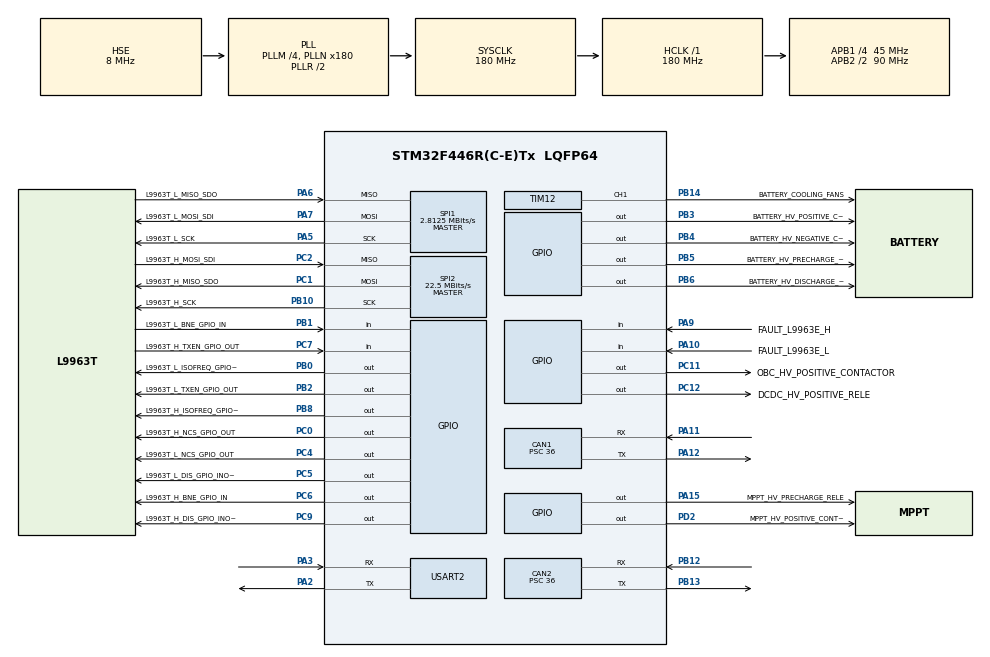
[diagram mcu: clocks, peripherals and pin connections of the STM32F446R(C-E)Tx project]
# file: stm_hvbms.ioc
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CAN1.ABOM=ENABLE
CAN1.BS1=CAN_BS1_2TQ
CAN1.BS2=CAN_BS2_2TQ
CAN1.CalculateBaudRate=250000
CAN1.CalculateTimeBit=4000
CAN1.CalculateTimeQuantum=800.0
CAN1.Prescaler=36
CAN2.BS1=CAN_BS1_2TQ
CAN2.BS2=CAN_BS2_2TQ
CAN2.CalculateBaudRate=250000
CAN2.CalculateTimeBit=4000
CAN2.CalculateTimeQuantum=800.0
CAN2.Prescaler=36
Mcu.Family=STM32F4
Mcu.Name=STM32F446R(C-E)Tx
Mcu.Package=LQFP64
NVIC.PriorityGroup=NVIC_PRIORITYGROUP_4
NVIC.TIM6_DAC_IRQn=true\:0\:0\:false\:false\:true\:true\:true\:true
NVIC.TIM7_IRQn=true\:0\:0\:false\:false\:true\:true\:true\:true
NVIC.TIM8_BRK_TIM12_IRQn=true\:0\:0\:false\:false\:true\:true\:true\:true
NVIC.TIM8_UP_TIM13_IRQn=true\:0\:0\:false\:false\:true\:true\:true\:true
PA10.GPIO_Label=FAULT_L9963E_L
PA10.Signal=GPIO_Input
PA11.Mode=CAN_Activate
PA11.Signal=CAN1_RX
PA12.Mode=CAN_Activate
PA12.Signal=CAN1_TX
PA15.GPIO_Label=MPPT_HV_PRECHARGE_RELE
PA15.Signal=GPIO_Output
PA2.Mode=Asynchronous
PA2.Signal=USART2_TX
PA3.Mode=Asynchronous
PA3.Signal=USART2_RX
PA5.GPIO_Label=L9963T_L_SCK
PA5.Mode=Full_Duplex_Master
PA5.Signal=SPI1_SCK
PA6.GPIO_Label=L9963T_L_MISO_SDO
PA6.Mode=Full_Duplex_Master
PA6.Signal=SPI1_MISO
PA7.GPIO_Label=L9963T_L_MOSI_SDI
PA7.Mode=Full_Duplex_Master
PA7.Signal=SPI1_MOSI
PA9.GPIO_Label=FAULT_L9963E_H
PA9.Signal=GPIO_Input
PB0.GPIO_Label=L9963T_L_ISOFREQ_GPIO_OUT
PB0.Signal=GPIO_Output
PB1.GPIO_Label=L9963T_L_BNE_GPIO_IN
PB1.Signal=GPIO_Input
PB10.GPIO_Label=L9963T_H_SCK
PB10.Mode=Full_Duplex_Master
PB10.Signal=SPI2_SCK
PB12.Mode=CAN_Activate
PB12.Signal=CAN2_RX
PB13.Mode=CAN_Activate
PB13.Signal=CAN2_TX
PB14.GPIO_Label=BATTERY_COOLING_FANS
PB14.Signal=S_TIM12_CH1
PB2.GPIO_Label=L9963T_L_TXEN_GPIO_OUT
PB2.Signal=GPIO_Output
PB3.GPIO_Label=BATTERY_HV_POSITIVE_CONTACTOR
PB3.Signal=GPIO_Output
PB4.GPIO_Label=BATTERY_HV_NEGATIVE_CONTACTOR
PB4.Signal=GPIO_Output
PB5.GPIO_Label=BATTERY_HV_PRECHARGE_CONTACTOR
PB5.Signal=GPIO_Output
PB6.GPIO_Label=BATTERY_HV_DISCHARGE_CONTACTOR
PB6.Signal=GPIO_Output
PB8.GPIO_Label=L9963T_H_ISOFREQ_GPIO_OUT
PB8.Signal=GPIO_Output
PC0.GPIO_Label=L9963T_H_NCS_GPIO_OUT
PC0.Signal=GPIO_Output
PC1.GPIO_Label=L9963T_H_MISO_SDO
PC1.Mode=Full_Duplex_Master
PC1.Signal=SPI2_MOSI
PC11.GPIO_Label=OBC_HV_POSITIVE_CONTACTOR
PC11.Signal=GPIO_Output
PC12.GPIO_Label=DCDC_HV_POSITIVE_RELE
PC12.Signal=GPIO_Output
PC2.GPIO_Label=L9963T_H_MOSI_SDI
PC2.Mode=Full_Duplex_Master
PC2.Signal=SPI2_MISO
PC4.GPIO_Label=L9963T_L_NCS_GPIO_OUT
PC4.Signal=GPIO_Output
PC5.GPIO_Label=L9963T_L_DIS_GPIO_INOUT
PC5.Signal=GPIO_Output
PC6.GPIO_Label=L9963T_H_BNE_GPIO_IN
PC6.Signal=GPIO_Output
PC7.GPIO_Label=L9963T_H_TXEN_GPIO_OUT
PC7.Signal=GPIO_Input
PC9.GPIO_Label=L9963T_H_DIS_GPIO_INOUT
PC9.Signal=GPIO_Output
PD2.GPIO_Label=MPPT_HV_POSITIVE_CONTACTOR
PD2.Signal=GPIO_Output
PH0-OSC_IN.Mode=HSE-External-Oscillator
PH0-OSC_IN.Signal=RCC_OSC_IN
PH1-OSC_OUT.Mode=HSE-External-Oscillator
PH1-OSC_OUT.Signal=RCC_OSC_OUT
ProjectManager.HeapSize=0x200
ProjectManager.StackSize=0x400
ProjectManager.TargetToolchain=Makefile
RCC.AHBFreq_Value=180000000
RCC.APB1CLKDivider=RCC_HCLK_DIV4
RCC.APB1Freq_Value=45000000
RCC.APB1TimFreq_Value=90000000
RCC.APB2CLKDivider=RCC_HCLK_DIV2
RCC.APB2Freq_Value=90000000
RCC.APB2TimFreq_Value=180000000
RCC.CortexFreq_Value=180000000
RCC.HCLKFreq_Value=180000000
RCC.HSE_VALUE=8000000
RCC.PLLM=4
RCC.PLLN=180
RCC.PLLSourceVirtual=RCC_PLLSOURCE_HSE
RCC.SYSCLKFreq_VALUE=180000000
RCC.SYSCLKSource=RCC_SYSCLKSOURCE_PLLRCLK
RCC.USBFreq_Value=180000000
RCC.VCOOutputFreq_Value=360000000
SH.S_TIM12_CH1.0=TIM12_CH1,PWM Generation1 CH1
SPI1.BaudRatePrescaler=SPI_BAUDRATEPRESCALER_32
SPI1.CLKPhase=SPI_PHASE_2EDGE
SPI1.CalculateBaudRate=2.8125 MBits/s
SPI1.Direction=SPI_DIRECTION_2LINES
SPI1.Mode=SPI_MODE_MASTER
SPI1.VirtualType=VM_MASTER
SPI2.CalculateBaudRate=22.5 MBits/s
SPI2.Direction=SPI_DIRECTION_2LINES
SPI2.Mode=SPI_MODE_MASTER
SPI2.VirtualType=VM_MASTER
TIM12.Channel-PWM\ Generation1\ CH1=TIM_CHANNEL_1
TIM12.Period=40-1
TIM12.Prescaler=90-1
TIM13.Period=100-1
TIM13.Prescaler=9000-1
TIM6.Period=10000 -1
TIM6.Prescaler=9000-1
TIM7.Period=500 -1
TIM7.Prescaler=9000-1
USART2.VirtualMode=VM_ASYNC
VP_TIM12_VS_ClockSourceINT.Mode=Internal
VP_TIM13_VS_ClockSourceINT.Mode=Enable_Timer
VP_TIM6_VS_ClockSourceINT.Mode=Enable_Timer
VP_TIM7_VS_ClockSourceINT.Mode=Enable_Timer
board=custom

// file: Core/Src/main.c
/* USER CODE BEGIN Header */
/**
  ******************************************************************************
  * @file           : main.c
  * @brief          : Main program body
  ******************************************************************************
  * @attention
  *
  * Copyright (c) 2025 STMicroelectronics.
  * All rights reserved.
  *
  * This software is licensed under terms that can be found in the LICENSE file
  * in the root directory of this software component.
  * If no LICENSE file comes with this software, it is provided AS-IS.
  *
  ******************************************************************************
  */
/* USER CODE END Header */
#include "main.h"
#include "can.h"
#include "spi.h"
#include "tim.h"
#include "usart.h"
#include "gpio.h"

/* USER CODE BEGIN Includes */
#include <stdio.h>
#include <stdint.h>
#include <stdbool.h>
#include <stddef.h>
#include <string.h>
#include "L9963E_utils.h"
#include "ntc.h"
#include "can_utils.h"
#include "bms.h"
#include "hv_device_datatypes.h"
/* USER CODE END Includes */

/* USER CODE BEGIN PD */
#define BMS_INTERVAL 50
#define CAN_SEND_INTERVAL 200
#define CAN_RECEIVE_INTERVAL 2
//#define SERIAL_DEBUG
/* USER CODE END PD */

/* USER CODE BEGIN PV */
//intervals check
volatile uint32_t bms_millis;
volatile uint32_t can_send_millis;
volatile uint32_t can_receive_millis;

pack_information_t pack_information_main;
battery_errors_t battery_errors_main;
hv_devices_states_requests_t hv_devices_states_requests_main;

/* USER CODE END PV */

void SystemClock_Config(void);

int main(void)
{

  /* MCU Configuration--------------------------------------------------------*/

  /* Reset of all peripherals, Initializes the Flash interface and the Systick. */
  HAL_Init();

  /* Configure the system clock */
  SystemClock_Config();

  /* Initialize all configured peripherals */
  MX_GPIO_Init();
  MX_CAN1_Init();
  MX_SPI1_Init();
  MX_TIM6_Init();
  MX_TIM7_Init();
  MX_USART2_UART_Init();
  MX_TIM12_Init();
  MX_TIM13_Init();
  MX_CAN2_Init();
  MX_SPI2_Init();
  /* USER CODE BEGIN 2 */
  L9963E_utils_init();
  bms_routines_init(&pack_information_main, &battery_errors_main, &hv_devices_states_requests_main);
  can_routines_init(get_pack_information());

  #ifdef SERIAL_DEBUG
  char buf[50];
  strcpy((char*)buf,"AO SO SVEGLIOOO!\r\n");
  HAL_UART_Transmit(&huart2,buf,strlen((char*)buf),HAL_MAX_DELAY);
  HAL_Delay(200);
  #endif
  /* USER CODE END 2 */

  /* Infinite loop */
  /* USER CODE BEGIN WHILE */
  while (1)
  {
    if(timer_check(BMS_INTERVAL,bms_millis)){
      bms_millis = HAL_GetTick();
      bms_routine();
    }

    if(timer_check(CAN_SEND_INTERVAL,can_send_millis)){
      can_send_millis = HAL_GetTick();
      can_send_routine();
    }

    if(timer_check(CAN_RECEIVE_INTERVAL,can_receive_millis)){
      can_receive_millis = HAL_GetTick();
      can_receive_routine();
    }
    //L9963E_utils_read_cells(0); //1 richiedi lettura ntc, 0 non richiedere lettura ntc
    /* USER CODE END WHILE */

  }
}

void SystemClock_Config(void)
{
  RCC_OscInitTypeDef RCC_OscInitStruct = {0};
  RCC_ClkInitTypeDef RCC_ClkInitStruct = {0};

  /** Configure the main internal regulator output voltage
  */
  __HAL_RCC_PWR_CLK_ENABLE();
  __HAL_PWR_VOLTAGESCALING_CONFIG(PWR_REGULATOR_VOLTAGE_SCALE1);

  /** Initializes the RCC Oscillators according to the specified parameters
  * in the RCC_OscInitTypeDef structure.
  */
  RCC_OscInitStruct.OscillatorType = RCC_OSCILLATORTYPE_HSE;
  RCC_OscInitStruct.HSEState = RCC_HSE_ON;
  RCC_OscInitStruct.PLL.PLLState = RCC_PLL_ON;
  RCC_OscInitStruct.PLL.PLLSource = RCC_PLLSOURCE_HSE;
  RCC_OscInitStruct.PLL.PLLM = 4;
  RCC_OscInitStruct.PLL.PLLN = 180;
  RCC_OscInitStruct.PLL.PLLP = RCC_PLLP_DIV2;
  RCC_OscInitStruct.PLL.PLLQ = 2;
  RCC_OscInitStruct.PLL.PLLR = 2;
  if (HAL_RCC_OscConfig(&RCC_OscInitStruct) != HAL_OK)
  {
    Error_Handler();
  }

  /** Activate the Over-Drive mode
  */
  if (HAL_PWREx_EnableOverDrive() != HAL_OK)
  {
    Error_Handler();
  }

  /** Initializes the CPU, AHB and APB buses clocks
  */
  RCC_ClkInitStruct.ClockType = RCC_CLOCKTYPE_HCLK|RCC_CLOCKTYPE_SYSCLK
                              |RCC_CLOCKTYPE_PCLK1|RCC_CLOCKTYPE_PCLK2;
  RCC_ClkInitStruct.SYSCLKSource = RCC_SYSCLKSOURCE_PLLRCLK;
  RCC_ClkInitStruct.AHBCLKDivider = RCC_SYSCLK_DIV1;
  RCC_ClkInitStruct.APB1CLKDivider = RCC_HCLK_DIV4;
  RCC_ClkInitStruct.APB2CLKDivider = RCC_HCLK_DIV2;

  if (HAL_RCC_ClockConfig(&RCC_ClkInitStruct, FLASH_LATENCY_5) != HAL_OK)
  {
    Error_Handler();
  }
}

void Error_Handler(void)
{
  __disable_irq();
  while (1)
  {
  }
}
